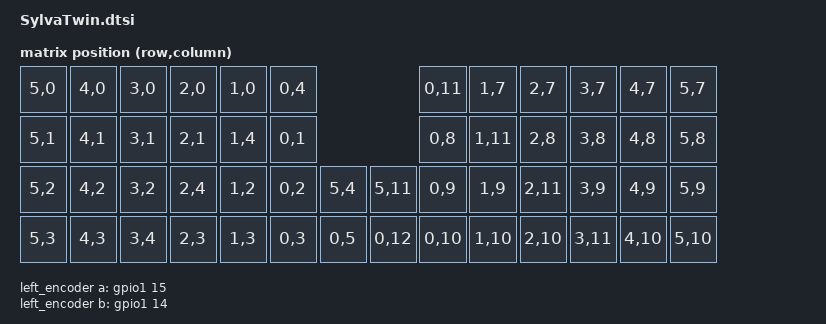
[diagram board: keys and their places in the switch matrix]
/*
 * Copyright (c) 2020 Pete Johanson
 *
 * SPDX-License-Identifier: MIT
 */

#include <dt-bindings/zmk/matrix_transform.h>
#include <physical_layouts.dtsi>

/ {
    chosen {
        zmk,kscan = &kscan0;
        zmk,matrix-transform = &default_transform;
    };

    kscan0: kscan {
        compatible = "zmk,kscan-gpio-charlieplex";
        wakeup-source;
    };
    
    default_transform: matrix_transform {
        compatible = "zmk,matrix-transform";
        rows = <4>;
        columns = <14>;
        map = <
            RC(5,0) RC(4,0) RC(3,0) RC(2,0) RC(1,0) RC(0,4)                           RC( 0,11) RC( 1, 7) RC( 2, 7) RC( 3, 7) RC( 4, 7) RC( 5, 7)
            RC(5,1) RC(4,1) RC(3,1) RC(2,1) RC(1,4) RC(0,1)                           RC( 0, 8) RC( 1,11) RC( 2, 8) RC( 3, 8) RC( 4, 8) RC( 5, 8)
            RC(5,2) RC(4,2) RC(3,2) RC(2,4) RC(1,2) RC(0,2) RC(5,4)         RC( 5,11) RC( 0, 9) RC( 1, 9) RC( 2,11) RC( 3, 9) RC( 4, 9) RC( 5, 9)
            RC(5,3) RC(4,3) RC(3,4) RC(2,3) RC(1,3) RC(0,3) RC(0,5)         RC( 0,12) RC( 0,10) RC( 1,10) RC( 2,10) RC( 3,11) RC( 4,10) RC( 5,10)
        >;
    };
    
    left_encoder: encoder_left {
        compatible = "alps,ec11";
        a-gpios = <&gpio1 15 (GPIO_ACTIVE_HIGH | GPIO_PULL_UP)>;
        b-gpios = <&gpio1 14 (GPIO_ACTIVE_HIGH | GPIO_PULL_UP)>;
        steps = <80>;
        status = "disabled";
    };

    right_encoder: encoder_right {
        status = "disabled";
    };

    sensors: sensors {
        compatible = "zmk,keymap-sensors";
        sensors = <&left_encoder &right_encoder>;
        triggers-per-rotation = <20>;
    };
    
};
